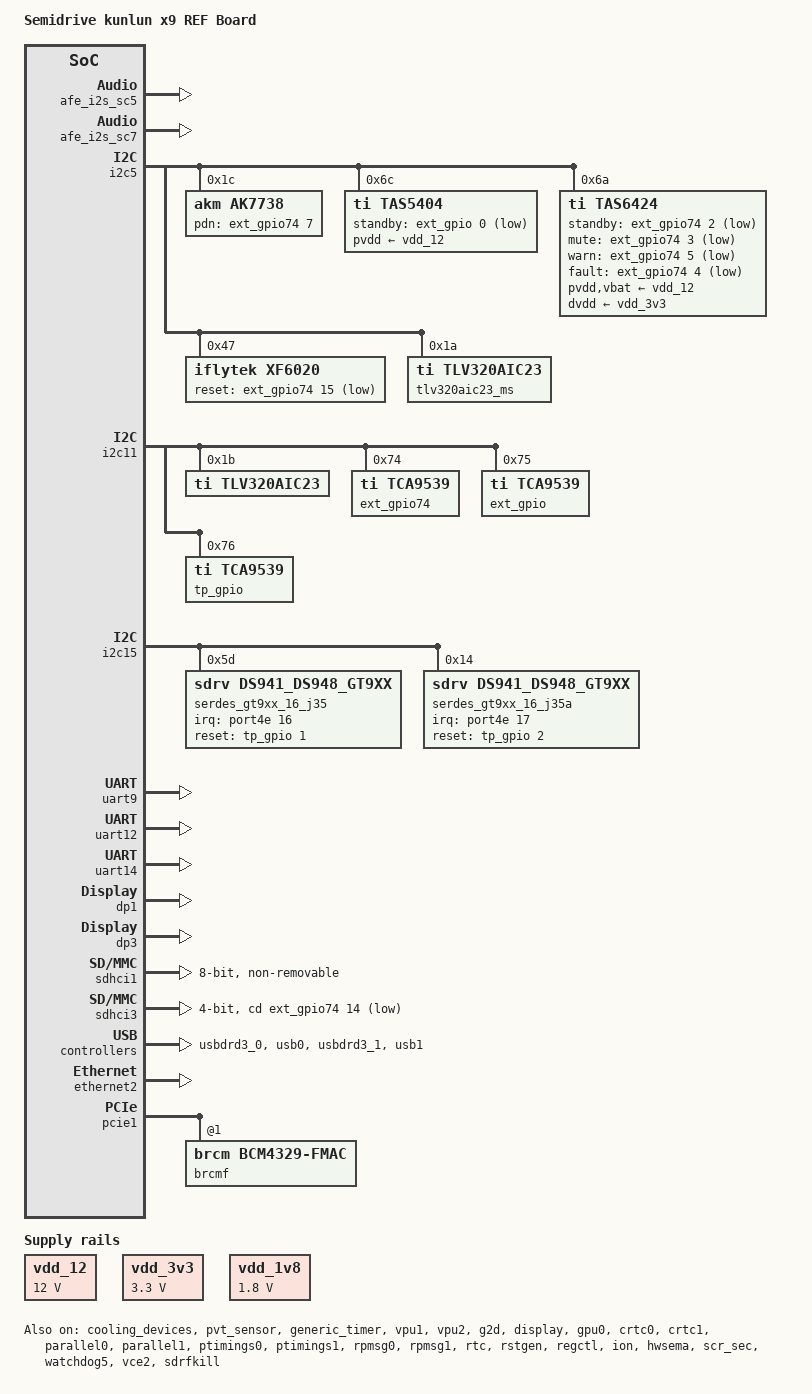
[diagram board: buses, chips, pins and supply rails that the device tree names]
/*
 * Semidrive kunlun platform DTS file
 *
 * Copyright (C) 2019, Semidrive  Communications Inc.
 *
 * This file is licensed under a dual GPLv2 or X11 license.
 */

/dts-v1/;
#include "../x9_high_ecockpit.dtsi"
#include "../x9_high_ref_ivi-clk-ctrl.dtsi"
#include "../lcd-timings.dtsi"
#include <dt-bindings/pinctrl/pins-sdx9.h>
#include <dt-bindings/memmap/x9_high/projects/default/image_cfg.h>
#include <dt-bindings/memory/sdrv_ion.h>
#include <dt-bindings/rpmsg/sd,x9h-default.h>

/ {
	model = "Semidrive kunlun x9 REF Board";

	compatible = "semidrive,kunlun";

	aliases {
		serial0 = &uart14;
		serial1 = &uart9;
		serial2 = &uart12;
		ethernet2 = &ethernet2;
	};

	memory@50000000 {
		device_type = "memory";
		reg = <HIGH32(AP1_KERNEL_MEMBASE-0x80000) LOW32(AP1_KERNEL_MEMBASE-0x80000) HIGH32(AP1_KERNEL_MEMSIZE) LOW32(AP1_KERNEL_MEMSIZE) >;
	};

	reserved-memory {
		#address-cells = <2>;
		#size-cells = <2>;
		ranges;

		/* Default Common CMA Pool */
		/* QUIRK: Must be kept in the lower 4096 MiBs of DRAM banks for VE */
		linux,cma {
			compatible = "shared-dma-pool";
			reusable;
			size = <0x0 0x40000000>; /* 1024MB */
			/* 4GB maximum in case of 32-bit only capable devices */
			alloc-ranges = <0x0 0x0 0x0 0xffffffff>;
			linux,cma-default;
		};

		rproc_0_safety: rproc@0 {
			compatible = "shared-dma-pool";
			no-map;
			reg = <0x0 RPMSG0_MEM_POOL_BASE 0x0 RPMSG0_MEM_POOL_SIZE>;
		};

		rproc_1_secure: rproc@1 {
			compatible = "shared-dma-pool";
			no-map;
			reg = <0x0 RPMSG1_MEM_POOL_BASE 0x0 RPMSG1_MEM_POOL_SIZE>;
		};

	};

	chosen {
		bootargs = "root=/dev/ram0 rootfstype=ramfs highres=1 earlycon loglevel=4 console=ttyS0,115200n8 fbcon=map:1 androidboot.mode=normal androidboot.selinux=permissive androidboot.debuggable=0 androidboot.dm_verity=disable androidboot.vdsp=disable init=/init";
		stdout-path = "serial0";
		linux,initrd-start = <AP1_BOARD_RAMDISK_MEMBASE>;
		linux,initrd-end   = <AP1_BOARD_RAMDISK_MEMSIZE>;
	};

	vdd_12: fixed-vdd_12 {
		compatible = "regulator-fixed";
		regulator-name = "vdd_12v";
		regulator-min-microvolt = <12000000>;
		regulator-max-microvolt = <12000000>;
	};

	vdd_3v3: fixed-vdd_3v3 {
		compatible = "regulator-fixed";
		regulator-name = "vdd_3v3";
		regulator-min-microvolt = <3300000>;
		regulator-max-microvolt = <3300000>;
	};

	vdd_1v8: fixed-vdd_1v8 {
		compatible = "regulator-fixed";
		regulator-name = "vdd_1v8";
		regulator-min-microvolt = <1800000>;
		regulator-max-microvolt = <1800000>;
	};

	sound_ak7738: sound@ak7738 {
		compatible = "semidrive,x9-ref-ak7738","semidrive,x9-ref04-ak7738";
		semidrive,audio-codec = <&ak7738>;
		status = "okay";
	};

	sound_ak4556: sound@ak4556 {
		compatible = "semidrive,x9-ref-ak4556";
		status = "okay";
	};

	sound_tlv320aic23: sound@tlv320aic23 {
		compatible = "semidrive,x9-ref-tlv320aic23";
		semidrive,audio-codec = <&tlv320aic23>;
		status = "okay";
	};

	semidrive_cs0:semidrive_cs@0 {
		mboxes = <&mbox MBOX_INDEX_CAMERA_CSI0 MBOX_INDEX_CAMERA_CSI0_PARAM>;
		compatible = "sd,sdrv_dummy";
		/*dev_id = /bits/ 16 <0>;*/
		type="EVS";
		status = "disabled";
	};
	semidrive_cs1:semidrive_cs@1 {
		mboxes = <&mbox MBOX_INDEX_CAMERA_CSI1_0 MBOX_INDEX_CAMERA_CSI1_0_PARAM>;
		compatible = "sd,sdrv_dummy";
		/*dev_id = /bits/ 16 <1>;*/
		type="DMS";
		status = "disabled";
	};
	semidrive_cs2:semidrive_cs@2 {
		mboxes = <&mbox MBOX_INDEX_CAMERA_CSI1_1 MBOX_INDEX_CAMERA_CSI1_1_PARAM>;
		compatible = "sd,sdrv_dummy";
		/*dev_id = /bits/ 16 <2>;*/
		type="DVR";
		status = "disabled";
	};
	semidrive_cs3:semidrive_cs@3 {
		mboxes = <&mbox MBOX_INDEX_CAMERA_CSI1_2 MBOX_INDEX_CAMERA_CSI1_2_PARAM>;
		compatible = "sd,sdrv_dummy";
		/*dev_id = /bits/ 16 <3>;*/
		type="FRONT";
		status = "disabled";
	};
	semidrive_cs4:semidrive_cs@4 {
		mboxes = <&mbox MBOX_INDEX_CAMERA_CSI1_3 MBOX_INDEX_CAMERA_CSI1_3_PARAM>;
		compatible = "sd,sdrv_dummy";
		/*dev_id = /bits/ 16 <4>;*/
		type="BACK";
		status = "disabled";
	};
};

&cooling_devices {
	status = "okay";
};

&pvt_sensor {
	status = "okay";
};

&semidrive_cs0 {
	dev_id = /bits/ 16 <0>;
	status = "okay";
};
&semidrive_cs1 {
	dev_id = /bits/ 16 <1>;
	status = "okay";
};
&semidrive_cs2 {
	dev_id = /bits/ 16 <2>;
	status = "okay";
};
&semidrive_cs3 {
	dev_id = /bits/ 16 <3>;
	status = "okay";
};
&semidrive_cs4 {
	dev_id = /bits/ 16 <4>;
	status = "okay";
};


&dmac4 {
	status = "okay";
};
&dmac5 {
	status = "okay";
};
&dmac6 {
	status = "okay";
};

&afe_i2s_sc2{
	dmas = <&dmac4 X9_DMA_SLV_ID_I2S_SC3_TX>, <&dmac4 X9_DMA_SLV_ID_I2S_SC3_RX>;
	dma-names = "tx", "rx";
	status = "disabled";
};

&afe_i2s_sc5{
	dmas = <&dmac4 X9_DMA_SLV_ID_I2S_SC6_TX>, <&dmac4 X9_DMA_SLV_ID_I2S_SC6_RX>;
	dma-names = "tx", "rx";
	status = "okay";
};

&afe_i2s_sc7{
	dmas = <&dmac4 X9_DMA_SLV_ID_I2S_SC8_TX>, <&dmac4 X9_DMA_SLV_ID_I2S_SC8_RX>;
	dma-names = "tx", "rx";
	status = "okay";
};


&i2c5 {
        status = "okay";

		ak7738:codec@1c{
			compatible = "akm,ak7738";
			reg = <0x1c>;
			ak7738,pdn-gpio = <&ext_gpio74 7 0>; // If PDN GPIO pin is used
		};

 		tas5404:codec@6c {
			compatible = "ti,tas5404";
			reg = <0x6c>;
			#sound-dai-cells = <0>;
			pvdd-supply = <&vdd_12>;
			standby-gpios = <&ext_gpio 0 GPIO_ACTIVE_LOW>;
		};

		tas6424:codec@6a {
			compatible = "ti,tas6424";
			reg = <0x6a>;
			#sound-dai-cells = <0>;
			pvdd-supply = <&vdd_12>;
			vbat-supply = <&vdd_12>;
			dvdd-supply = <&vdd_3v3>;
			standby-gpios = <&ext_gpio74 2 GPIO_ACTIVE_LOW>;
			mute-gpios = <&ext_gpio74 3 GPIO_ACTIVE_LOW>;
			warn-gpios = <&ext_gpio74 5 GPIO_ACTIVE_LOW>;
			fault-gpios = <&ext_gpio74 4 GPIO_ACTIVE_LOW>;
		};

		xf6020:codec@47{
			compatible = "iflytek,xf6020";
			reg = <0x47>;
			reset-gpios = <&ext_gpio74 15 GPIO_ACTIVE_LOW>;
		};

		tlv320aic23_ms: codec@1a {
			compatible = "ti,tlv320aic23";
			reg = <0x1a>;
		};

};

&i2c6 {
        status = "disabled";
};

&i2c7 {
        status = "disabled";
};


&i2c10 {
        status = "disabled";
	gt9271_11_j35:gt9271_11_j35@5d {
		//pinctrl-names = "default";
		//pinctrl-0 = <&pinctrl_gpiotouch_mipi>;
		compatible = "goodix,gt9271";
		irq-gpios = <&port4e 17 0>;	/*io97*/
		reset-gpios = <&tp_gpio 2 0>;	/*index 2*/
		reg = <0x5d>;
	};
};

&i2c11 {
	status = "okay";

	tlv320aic23: codec@1b {
	compatible = "ti,tlv320aic23";
		reg = <0x1b>;
	};

	ext_gpio74: gpio@74 {
		compatible = "ti,tca9539";
		reg = <0x74>;
		#gpio-cells = <2>;
		gpio-controller;
	};
	ext_gpio: gpio@75 {
		compatible = "ti,tca9539";
		reg = <0x75>;
		#gpio-cells = <2>;
		gpio-controller;
	};
	tp_gpio: gpio@76 {
		compatible = "ti,tca9539";
		reg = <0x76>;
		#gpio-cells = <2>;
		gpio-controller;
	};
};

&i2c13 {
        status = "disabled";

        serdes_gt9xx_14_j34:serdes_gt9xx_14_j34@5d {
		compatible = "sdrv,ds947_ds948_gt9xx";
		irq-gpios = <&port4e 0 0>;	/*io80*/
		reset-gpios = <&ext_gpio 1 0>;	/*index 1*/
		reg = <0x5d>;
		dev_type = <0>;	/* 0: main device, 1: aux device */
		addr_ds947 = <0x1a>;
		addr_ds948 = <0x2c>;
	};
};

&i2c14 {
	status = "disabled";

	gt9271_15_j33:touch@14 {
		//pinctrl-names = "default";
		//pinctrl-0 = <&pinctrl_gpiotouch_lvds>;
		compatible = "goodix,gt9271";
		irq-gpios = <&port4e 3 0>;	/*io83*/
		reset-gpios = <&ext_gpio 7 0>;		/*index 7*/
		reg = <0x14>;
		dev_type = <1>;	/* 0: main device, 1: aux device */
	};
};

&i2c15 {
	status = "okay";

	sync_enable = <1>;
	serdes_gt9xx_16_j35:touch@5d {
		compatible = "sdrv,ds941_ds948_gt9xx";
		irq-gpios = <&port4e 16 0>;	/*io96*/
		reset-gpios = <&tp_gpio 1 0>;	/*index 1*/
		reg = <0x5d>;
		dev_type = <0>;	/* 0: main device, 1: aux device */
		addr_ds941 = <0x0c>;
		addr_ds948 = <0x2c>;
		irq_channel = <3>;
		reset_channel = <2>;
	};

	serdes_gt9xx_16_j35a:touch@14 {
		compatible = "sdrv,ds941_ds948_gt9xx";
		irq-gpios = <&port4e 17 0>;	/*io97*/
		reset-gpios = <&tp_gpio 2 0>;	/*index 2*/
		reg = <0x14>;
		dev_type = <1>;	/* 0: main device, 1: aux device */
		addr_ds941 = <0x0d>;
		addr_ds948 = <0x3c>;
		irq_channel = <3>;
		reset_channel = <2>;
	};
};

&i2c4 {
	status = "disabled";

	gt9271_5_j33:gt9271_5_j33@14 {
		compatible = "sdrv,ds927_ds928_gt9xx";
		irq-gpios = <&port4e 3 0>;	/*io83*/
		//irq-gpios = <&ext_gpio 9 0>;	/*index 9*/
		reset-gpios = <&ext_gpio 7 0>;		/*index 7*/
		reg = <0x14>;
		dev_type = <0>;	/* 0: main device, 1: aux device */
		addr_ds927 = <0x1a>;
		addr_ds928 = <0x36>;
	};
};

&spi4 {
	status = "disabled";
};

&spi5 {
	status = "disabled";
};

&spi6 {
	status = "disabled";
};

&spi7 {
	status = "disabled";
};

&uart9 {
	status = "okay";
};

&uart12 {
	status = "okay";
};

&uart14 {
	dmas = <&dmac4 X9_DMA_SLV_ID_UART15_TX>, <&dmac4 X9_DMA_SLV_ID_UART15_RX>;
	dma-names = "tx", "rx";
	status = "okay";
};

&generic_timer {
	status = "okay";
};

&adc_ap {
	resolution_value = <0x03>; /*ADC_6_BITS_E0 = 0x00 , ADC_8_BITS_E1 = 0x01 , ADC_10_BITS_E2 = 0x02 , ADC_12_BITS_E3 = 0x03*/
	clksrc_sel = <0x00>; /*ADC_SRC_CLK_ALT_E0 = 0x00 , ADC_SRC_CLK_PCLK_E1 = 0x01 , ADC_SRC_CLK_EXT_E2 = 0x02*/
	clk_value = <24000000>;
	use-adc-fifo;
	vref-supply = <&vdd_1v8>;
	status = "disabled";
};

&vpu1 {
	resets = <&rstgen RSTGEN_MODULE_VPU1>;
	reset-names = "vpu-reset";
	status = "okay";
};

&vpu2 {
	resets = <&rstgen RSTGEN_MODULE_VPU2>;
	reset-names = "vpu-reset";
	status = "okay";
};

&g2d {
	status = "okay";
};

&display {
	sdriv,crtc = <&crtc0 &crtc1>;
	status = "okay";
};

&gpu0 {
	status = "okay";
};
&dp1 {
	status = "okay";
};
&dp3 {
	status = "okay";
};
&crtc0 {
	dpc-master = <&dp1>;
	status = "okay";
};

&crtc1 {
	dpc-master = <&dp3>;
	status = "okay";
};

&parallel0 {
	status = "okay";
};

&parallel1 {
	status = "okay";
};

&dtimings0 {
	native-mode = <&hsd_fhd1920x720>;
};

&dtimings1 {
	native-mode = <&hsd_fhd1920x720_1>;
};

&ptimings0 {
	status = "okay";
};

&ptimings1 {
	status = "okay";
};

&pinctrl {
	reg = <0x0 0x37000000 0x0 0x10000>;
	pinctrl-names = "default";

	sdx9-evk {
		pinctrl_mshc1: mshc1grp {
		kunlun,pins = <
			X9_PINCTRL_EMMC1_CLK__MSHC1_CLK_1 		X9_PINCTRL_OPEN_DRAIN_DISABLE
			X9_PINCTRL_EMMC1_CMD__MSHC1_CMD_1		X9_PINCTRL_OPEN_DRAIN_DISABLE
			X9_PINCTRL_EMMC1_DATA0__MSHC1_DATA_0_1	X9_PINCTRL_OPEN_DRAIN_DISABLE
			X9_PINCTRL_EMMC1_DATA1__MSHC1_DATA_1_1	X9_PINCTRL_OPEN_DRAIN_DISABLE
			X9_PINCTRL_EMMC1_DATA2__MSHC1_DATA_2_1	X9_PINCTRL_OPEN_DRAIN_DISABLE
			X9_PINCTRL_EMMC1_DATA3__MSHC1_DATA_3_1	X9_PINCTRL_OPEN_DRAIN_DISABLE
			X9_PINCTRL_EMMC1_DATA4__MSHC1_DATA_4_1	X9_PINCTRL_OPEN_DRAIN_DISABLE
			X9_PINCTRL_EMMC1_DATA5__MSHC1_DATA_5_1	X9_PINCTRL_OPEN_DRAIN_DISABLE
			X9_PINCTRL_EMMC1_DATA6__MSHC1_DATA_6_1	X9_PINCTRL_OPEN_DRAIN_DISABLE
			X9_PINCTRL_EMMC1_DATA7__MSHC1_DATA_7_1	X9_PINCTRL_OPEN_DRAIN_DISABLE
			X9_PINCTRL_EMMC1_STROBE__MSHC1_STB_1		X9_PINCTRL_OPEN_DRAIN_ENABLE
			X9_PINCTRL_EMMC1_RESET_N__MSHC1_RST_N_1	X9_PINCTRL_OPEN_DRAIN_DISABLE
			>;
		};

		pinctrl_gpiotouch_lvds: touchgrp_lvds {
                        kunlun,pins = <
			X9_PINCTRL_I2S_MC_SD4__GPIO_MUX2_IO80_1          0x00
			X9_PINCTRL_I2S_MC_SD5__GPIO_MUX2_IO81_1          0x00
                        X9_PINCTRL_I2S_MC_SD6__GPIO_MUX2_IO82_1          0x00
                        X9_PINCTRL_I2S_MC_SD7__GPIO_MUX2_IO83_1          0x00
                        >;
                };
		pinctrl_gpiotouch_mipi: touchgrp_mipi {
                        kunlun,pins = <
			X9_PINCTRL_EMMC2_CLK__GPIO_MUX2_IO96_1          0x00
			X9_PINCTRL_EMMC2_CMD__GPIO_MUX2_IO97_1          0x00
                        >;
                };
	};
};

&gpio4 {
	//pinctrl-names = "default";
	//pinctrl-0 = <&pinctrl_gpiotouch_lvds &pinctrl_gpiotouch_mipi>;
	status = "okay";
};
&sdhci1 {
	bus-width = <8>;
	non-removable;
	no-sdio;
	no-sd;
	card-is-emmc;
	disable-wp;
	cap-mmc-highspeed;
	keep-power-in-suspend;
	mmc-ddr-1_8v;
	mmc-hs200-1_8v;
	mmc-hs400-1_8v;
	mmc-hs400-enhanced-strobe;
	status = "okay";
};

&sdhci3 {
	#clock-cells = <1>;
	clocks = <&EMMC3>;
	clock-names = "core";
	max-frequency = <25000000>;
	cd-gpios = <&ext_gpio74 14 GPIO_ACTIVE_LOW>;
	bus-width = <4>;
	no-1-8-v;
	no-mmc;
	no-sdio;
	disable-wp;
	keep-power-in-suspend;
	status = "okay";
};

&mbox {
	status = "okay";
};

&mbox_test {
	status = "okay";
};

&rpmsg0 {
	memory-region = <&rproc_0_safety>;
	reg = <0x0 RPMSG0_MEM_HEAD_BASE 0x0 RPMSG0_MEM_HEAD_SIZE>;
	status = "okay";
};

&rpmsg1 {
	memory-region = <&rproc_1_secure>;
	reg = <0x0 RPMSG1_MEM_HEAD_BASE 0x0 RPMSG1_MEM_HEAD_SIZE>;
	status = "okay";
};

&ipcc0 {
	status = "okay";
};

&ipcc1 {
	status = "okay";
};

&smmu {
	status = "disabled";
};

&rtc {
	status = "okay";
};

&usbdrd3_0 {
	status = "okay";
};

&usb0 {
	status = "okay";
};

&usbdrd3_1 {
	status = "okay";
};

&usb1 {
	status = "okay";
};

&ethernet2 {
	status = "okay";
};

&rstgen {
	reg = <0x0 0x38467000 0x0 0x1000>,	/* vpu1 */
		<0x0 0x38468000 0x0 0x1000>,	/* vpu2 */
		<0x0 0x38490000 0x0 0x1000>,	/* gpu1 core */
		<0x0 0x38491000 0x0 0x1000>,	/* gpu1 ss */
		<0x0 0x38461000 0x0 0x1000>,	/* GIC4 */
		<0x0 0x38455000 0x0 0x1000>,	/* cpu1 core0 warm */
		<0x0 0x38456000 0x0 0x1000>,	/* cpu1 core1 warm */
		<0x0 0x38457000 0x0 0x1000>,	/* cpu1 core2 warm */
		<0x0 0x38458000 0x0 0x1000>,	/* cpu1 core3 warm */
		<0x0 0x38459000 0x0 0x1000>,	/* cpu1 core4 warm */
		<0x0 0x3845a000 0x0 0x1000>,	/* cpu1 core5 warm */
		<0x0 0x3845b000 0x0 0x1000>,	/* cpu1 scu warm */
		<0x0 0x3846d000 0x0 0x1000>,	/* cpu1 ss */
		<0x0 0x38407000 0x0 0x2000>;	/* cpu1 all core */
	rstgen_resource = <
		RSTGEN_MODULE_VPU1
		RSTGEN_MODULE_VPU2
		RSTGEN_MODULE_GPU1_CORE
		RSTGEN_MODULE_GPU1_SS
		RSTGEN_MODULE_GIC4
		RSTGEN_MODULE_CPU1_CORE0_WARM
		RSTGEN_MODULE_CPU1_CORE1_WARM
		RSTGEN_MODULE_CPU1_CORE2_WARM
		RSTGEN_MODULE_CPU1_CORE3_WARM
		RSTGEN_MODULE_CPU1_CORE4_WARM
		RSTGEN_MODULE_CPU1_CORE5_WARM
		RSTGEN_MODULE_CPU1_SCU_WARM
		RSTGEN_MODULE_CPU1_SS
		RSTGEN_CORE_CPU1_ALL
		>;
	status = "okay";
};

&regctl {
	reg = <0x0 0x38415000 0x0 0x1000>,
		<0x0 0x38418000 0x0 0x1000>,
		<0x0 0x38419000 0x0 0x1000>;
	reg-names = "SDRV_REG_REMAP",
			"SDRV_REG_BOOTREASON",
			"SDRV_REG_HWID";
	status = "okay";
};

&ion {
	status = "okay";
};

&hwsema {
        status = "okay";
};

&scr_sec {
        status = "okay";
};

&watchdog5 {
	wdt,auto-run = "false";
	status = "okay";
};

&pcie1 {
	status = "okay";
	brcmf: bcrmf@1 {
		reg = <1>;
		compatible = "brcm,bcm4329-fmac";
	};
};

&vce2 {
   /*
 	* op-mode options:
 	* bit 0: rng enable(1) or disable(0)
 	* bit 1: ce enable(1) or disable(0)
 	*/
 	op-mode = <3>;
	status = "okay";
};

&sdrfkill {
	bluetooth-en-gpio = <&tp_gpio 4 GPIO_ACTIVE_HIGH>;
	status = "okay";
};
